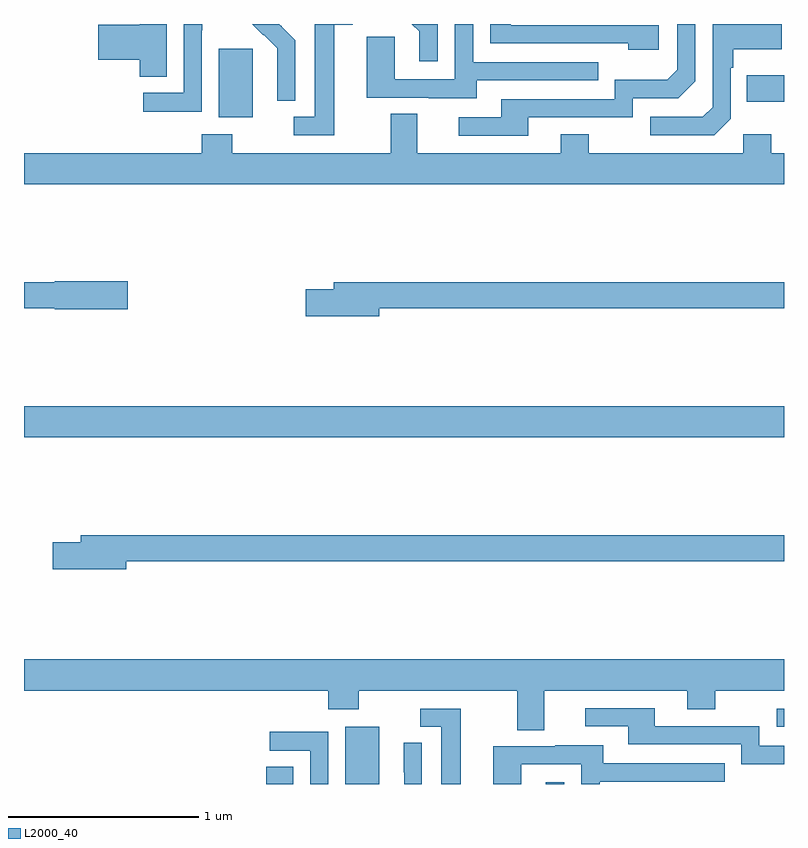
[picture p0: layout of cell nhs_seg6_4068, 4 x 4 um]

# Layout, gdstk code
import gdstk
lib = gdstk.Library(unit=1e-6, precision=1e-09)
def R(c, l, rs):  # rectangles x0, y0, x1, y1
    for r in rs: c.add(gdstk.rectangle(r[:2], r[2:], *l))
def P(c, l, *ps):  # polygons
    for p in ps: c.add(gdstk.Polygon(p, *l))
L2000_40 = (2000, 40)

nhs_seg6_4068 = lib.new_cell('nhs_seg6_4068')
R(nhs_seg6_4068, L2000_40, [(352.274,957.5,352.417,957.59), (352.691,957.5,352.87,957.802), (353.747,957.5,353.844,957.508), (354.963,957.801,355,957.897), (351,959.324,355,959.488), (352.025,961.01,352.204,961.371), (354.805,961.091,355,961.231)])
P(nhs_seg6_4068, L2000_40, [(354.72,961.002),(354.72,961.271),(354.733,961.271),(354.733,961.367),(354.989,961.367),(354.989,961.5),(354.624,961.5),(354.624,961.062),(354.573,961.011),(354.297,961.011),(354.297,960.915),(354.633,960.915)],
  [(353.178,961.498),(353.176,961.5),(353.042,961.5),(353.081,961.461),(353.081,961.305),(353.178,961.305)],
  [(352.633,961.496),(352.729,961.496),(352.729,961.5),(352.529,961.5),(352.529,961.011),(352.419,961.011),(352.419,960.915),(352.633,960.915)],
  [(351.751,961.5),(351.608,961.5),(351.608,961.496),(351.39,961.496),(351.39,961.313),(351.608,961.313),(351.608,961.222),(351.751,961.222)],
  [(353.653,961.008),(354.204,961.008),(354.204,961.11),(354.444,961.11),(354.534,961.2),(354.534,961.5),(354.438,961.5),(354.438,961.26),(354.385,961.207),(354.108,961.207),(354.108,961.104),(353.513,961.104),(353.513,961.008),(353.289,961.008),(353.289,960.912),(353.653,960.912)],
  [(351.936,961.468),(351.939,961.468),(351.939,961.5),(351.84,961.5),(351.84,961.137),(351.627,961.137),(351.627,961.039),(351.936,961.039)],
  [(352.428,961.414),(352.355,961.487),(352.356,961.488),(352.344,961.5),(352.2,961.5),(352.26,961.44),(352.263,961.443),(352.334,961.373),(352.334,961.25),(352.332,961.25),(352.332,961.096),(352.428,961.096)],
  [(354.34,961.494),(353.563,961.494),(353.563,961.5),(353.454,961.5),(353.454,961.398),(354.179,961.398),(354.179,961.364),(354.34,961.364)],
  [(353.383,961.203),(354.023,961.203),(354.023,961.299),(353.364,961.299),(353.364,961.5),(353.268,961.5),(353.268,961.209),(352.95,961.209),(352.95,961.433),(352.805,961.433),(352.805,961.113),(353.129,961.113),(353.129,961.109),(353.383,961.109)],
  [(355,960.82),(354.933,960.82),(354.933,960.919),(354.786,960.919),(354.786,960.82),(353.973,960.82),(353.973,960.919),(353.825,960.919),(353.825,960.82),(353.071,960.82),(353.071,961.028),(352.931,961.028),(352.931,960.82),(352.095,960.82),(352.095,960.919),(351.935,960.919),(351.935,960.82),(351,960.82),(351,960.656),(355,960.656)],
  [(351.547,960.146),(351.162,960.146),(351.162,960.14),(351,960.14),(351,960.004),(351.162,960.004),(351.162,959.999),(351.547,959.999)],
  [(352.87,960.004),(355,960.004),(355,960.14),(352.631,960.14),(352.631,960.104),(352.482,960.104),(352.482,959.962),(352.87,959.962)],
  [(351.538,958.672),(355,958.672),(355,958.808),(351.299,958.808),(351.299,958.772),(351.15,958.772),(351.15,958.63),(351.538,958.63)],
  [(353.737,957.992),(354.491,957.992),(354.491,957.893),(354.639,957.893),(354.639,957.992),(355,957.992),(355,958.156),(351,958.156),(351,957.992),(352.601,957.992),(352.601,957.893),(352.761,957.893),(352.761,957.992),(353.597,957.992),(353.597,957.784),(353.737,957.784)],
  [(355,957.702),(354.87,957.702),(354.87,957.804),(354.319,957.804),(354.319,957.9),(353.955,957.9),(353.955,957.804),(354.179,957.804),(354.179,957.708),(354.774,957.708),(354.774,957.605),(355,957.605)],
  [(353.299,957.897),(353.085,957.897),(353.085,957.801),(353.195,957.801),(353.195,957.5),(353.299,957.5)],
  [(352.602,957.774),(352.293,957.774),(352.293,957.675),(352.506,957.675),(352.506,957.5),(352.602,957.5)],
  [(353.094,957.716),(352.998,957.716),(352.998,957.562),(353,957.562),(353,957.5),(353.094,957.5)],
  [(353.616,957.603),(353.934,957.603),(353.934,957.5),(354.03,957.5),(354.03,957.513),(354.689,957.513),(354.689,957.609),(354.049,957.609),(354.049,957.703),(353.795,957.703),(353.795,957.699),(353.471,957.699),(353.471,957.5),(353.616,957.5)])

lib.write_gds('nhs_seg6_4068.gds')
